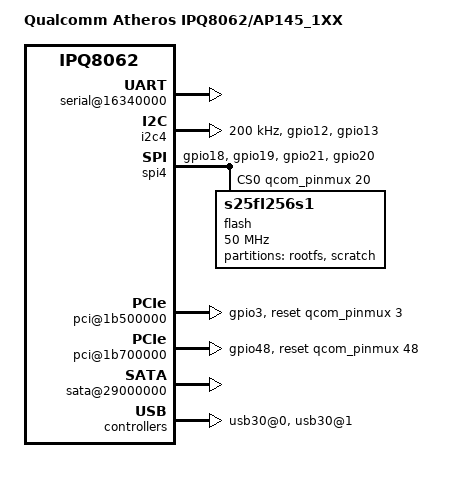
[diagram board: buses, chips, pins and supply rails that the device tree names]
/* Copyright (c) 2015, The Linux Foundation. All rights reserved.
 *
 * Permission to use, copy, modify, and/or distribute this software for any
 * purpose with or without fee is hereby granted, provided that the above
 * copyright notice and this permission notice appear in all copies.
 *
 * THE SOFTWARE IS PROVIDED "AS IS" AND THE AUTHOR DISCLAIMS ALL WARRANTIES
 * WITH REGARD TO THIS SOFTWARE INCLUDING ALL IMPLIED WARRANTIES OF
 * MERCHANTABILITY AND FITNESS. IN NO EVENT SHALL THE AUTHOR BE LIABLE FOR
 * ANY SPECIAL, DIRECT, INDIRECT, OR CONSEQUENTIAL DAMAGES OR ANY DAMAGES
 * WHATSOEVER RESULTING FROM LOSS OF USE, DATA OR PROFITS, WHETHER IN AN
 * ACTION OF CONTRACT, NEGLIGENCE OR OTHER TORTIOUS ACTION, ARISING OUT OF
 * OR IN CONNECTION WITH THE USE OR PERFORMANCE OF THIS SOFTWARE.
 *
 */

#include <dt-bindings/interrupt-controller/arm-gic.h>
#include <dt-bindings/interrupt-controller/irq.h>

/ {
	model = "Qualcomm Atheros IPQ8062/AP145_1XX";
	compatible = "qcom,ipq8062-ap145_1xx", "qcom,ipq8062";

	reserved-memory {
		#address-cells = <1>;
		#size-cells = <1>;
		ranges;
		rsvd@41200000 {
			reg = <0x41200000 0x300000>;
			no-map;
		};
	};
	cpus {
		#address-cells = <1>;
		#size-cells = <0>;

		cpu@0 {
			compatible = "qcom,krait";
			enable-method = "qcom,kpss-acc-v1";
			device_type = "cpu";

			operating-points-0-0 = <
				/* kHz      uV */
				1000000 1100000
				800000  1050000
				600000  1000000
				384000  950000
			>;
			operating-points-0-1 = <
				/* kHz      uV */
				1000000 1050000
				800000  1000000
				600000  950000
				384000  900000
			>;
			operating-points-0-2 = <
				/* kHz      uV */
				1000000 1000000
				800000  950000
				600000  900000
				384000  850000
			>;
			operating-points-0-3 = <
				/* kHz      uV */
				1000000  950000
				800000   900000
				600000   850000
				384000   800000
			>;

			clock-latency = <100000>;
			voltage-tolerance = <5>;

			cooling-min-state = <0>;
			cooling-max-state = <10>;
			#cooling-cells = <2>;
		};

		cpu@1 {
			compatible = "qcom,krait";
			enable-method = "qcom,kpss-acc-v1";
			device_type = "cpu";
			reg = <1>;
			qcom,acc = <&acc1>;
			qcom,saw = <&saw1>;
			core-supply = <&smb208_s2b>;
			clocks = <&kraitcc 1>;
			clock-names = "cpu";

			operating-points-0-0 = <
				/* kHz      uV */
				1000000 1100000
				800000  1050000
				600000  1000000
				384000  950000
			>;
			operating-points-0-1 = <
				/* kHz      uV */
				1000000 1050000
				800000  1000000
				600000  950000
				384000  900000
			>;
			operating-points-0-2 = <
				/* kHz      uV */
				1000000 1000000
				800000  950000
				600000  900000
				384000  850000
			>;
			operating-points-0-3 = <
				/* kHz      uV */
				1000000  950000
				800000   900000
				600000   850000
				384000   800000
			>;

			clock-latency = <100000>;

			cooling-min-state = <0>;
			cooling-max-state = <10>;
			#cooling-cells = <2>;
		};

		L2: l2-cache {
			compatible = "cache";
			cache-level = <2>;
			clocks = <&kraitcc 4>;
			clock-names = "cache";
			vdd_dig-supply = <&smb208_s1a>;
			cache-points-kHz = <
				/* kHz    uV    CPU kHz */
				1000000 1100000  600000
				384000  1100000  384000
			>;
		};

	};

	soc {

		pinmux@800000 {
			pinctrl-0 = <&rgmii2_pins_default>;
			pinctrl-names = "default";

			sdcc1_pins: sdcc1_pinmux {
				mux {
					pins = "gpio38", "gpio39", "gpio40",
					"gpio41", "gpio42", "gpio43",
					"gpio44", "gpio45", "gpio46",
					"gpio47";
					function = "sdc1";
				};
				cmd {
					pins = "gpio45";
					drive-strength = <10>;
					bias-pull-up;
				};
				data {
					pins = "gpio38", "gpio39", "gpio40",
					"gpio41", "gpio43", "gpio44",
					"gpio46", "gpio47";
					drive-strength = <10>;
					bias-pull-up;
				};
				clk {
					pins = "gpio42";
					drive-strength = <16>;
					bias-pull-down;
				};
			};

			i2c4_pins: i2c4_pinmux {
				pins = "gpio12", "gpio13";
				function = "gsbi4";
				bias-disable;
			};

			pcie1_pins: pcie1_pinmux {
				mux {
					pins = "gpio3";
					drive-strength = <2>;
					bias-disable;
				};
			};

			pcie2_pins: pcie2_pinmux {
				mux {
					pins = "gpio48";
					drive-strength = <2>;
					bias-disable;
				};
			};

			spi_pins: spi_pins {
				mux {
					pins = "gpio18", "gpio19", "gpio21";
					function = "gsbi5";
					drive-strength = <10>;
					bias-none;
				};
				cs {
					pins = "gpio20";
					drive-strength = <12>;
				};
			};
			nand_pins: nand_pins {
				mux {
					pins = "gpio34", "gpio35", "gpio36",
						"gpio37", "gpio38", "gpio39",
						"gpio40", "gpio41", "gpio42",
						"gpio43", "gpio44", "gpio45",
						"gpio46", "gpio47";
					function = "nand";
					drive-strength = <10>;
					bias-disable;
				};
				pullups {
					pins = "gpio39";
					bias-pull-up;
				};
				hold {
					pins = "gpio40", "gpio41", "gpio42",
						"gpio43", "gpio44", "gpio45",
						"gpio46", "gpio47";
					bias-bus-hold;
				};
			};

			rgmii2_pins_default: rgmii2_pins_default {
				mux {
					pins = "gpio27", "gpio28", "gpio29", "gpio30", "gpio31", "gpio32",
					       "gpio51", "gpio52", "gpio59", "gpio60", "gpio61", "gpio62" ;
					function = "rgmii2";
					drive-strength = <8>;
					bias-disable;
				};

				tx {
					pins = "gpio27", "gpio28", "gpio29", "gpio30", "gpio31", "gpio32" ;
					input-disable;
				};
			};
		};

		gsbi@16300000 {
			qcom,mode = <GSBI_PROT_I2C_UART>;
			status = "ok";
			serial@16340000 {
				status = "ok";
			};

			i2c4: i2c@16380000 {
				status = "ok";

				clock-frequency = <200000>;

				pinctrl-0 = <&i2c4_pins>;
				pinctrl-names = "default";
			};
		};

		gsbi5: gsbi@1a200000 {
			qcom,mode = <GSBI_PROT_SPI>;
			status = "ok";

			spi4: spi@1a280000 {
				status = "ok";
				spi-max-frequency = <50000000>;

				pinctrl-0 = <&spi_pins>;
				pinctrl-names = "default";

				cs-gpios = <&qcom_pinmux 20 0>;

				dmas = <&adm_dma 6 9>,
					<&adm_dma 5 10>;
				dma-names = "rx", "tx";

				flash: m25p80@0 {
					compatible = "s25fl256s1";
					#address-cells = <1>;
					#size-cells = <1>;
					spi-max-frequency = <50000000>;
					reg = <0>;
					m25p,fast-read;

					partition@0 {
						label = "rootfs";
						reg = <0x0 0x1000000>;
					};

					partition@1 {
						label = "scratch";
						reg = <0x1000000 0x1000000>;
					};
				};
			};
		};

		pci@1b500000 {
			status = "ok";
			reset-gpio = <&qcom_pinmux 3 0>;
			pinctrl-0 = <&pcie1_pins>;
			pinctrl-names = "default";

			ranges = <0x00000000 0 0x00000000 0x0ff00000 0 0x00100000   /* configuration space */
				  0x81000000 0 0	  0x0fe00000 0 0x00100000   /* downstream I/O */
				  0x82000000 0 0x00000000 0x08000000 0 0x07e00000>; /* non-prefetchable memory */
		};

		pci@1b700000 {
			status = "ok";
			reset-gpio = <&qcom_pinmux 48 0>;
			pinctrl-0 = <&pcie2_pins>;
			pinctrl-names = "default";

			ranges = <0x00000000 0 0x00000000 0x31f00000 0 0x00100000   /* configuration space */
				  0x81000000 0 0	  0x31e00000 0 0x00100000   /* downstream I/O */
				  0x82000000 0 0x00000000 0x2e000000 0 0x03e00000>; /* non-prefetchable memory */

		};

		sata@29000000 {
			status = "ok";
		};

		dma@18300000 {
			status = "ok";
		};

		tcsr@1a400000 {
			status = "ok";
			qcom,usb-ctrl-select = <TCSR_USB_SELECT_USB3_DUAL>;
		};

		phy@100f8800 {		/* USB3 port 1 HS phy */
			status = "ok";
		};

		phy@100f8830 {		/* USB3 port 1 SS phy */
			status = "ok";
		};

		phy@110f8800 {		/* USB3 port 0 HS phy */
			status = "ok";
		};

		phy@110f8830 {		/* USB3 port 0 SS phy */
			status = "ok";
		};

		usb30@0 {
			status = "ok";
		};

		usb30@1 {
			status = "ok";
		};

		amba {
			/* eMMC */
			sdcc1: sdcc@12400000 {
				status = "ok";
				pinctrl-0 = <&sdcc1_pins>;
				pinctrl-names = "default";
			};
		};
	};
};
